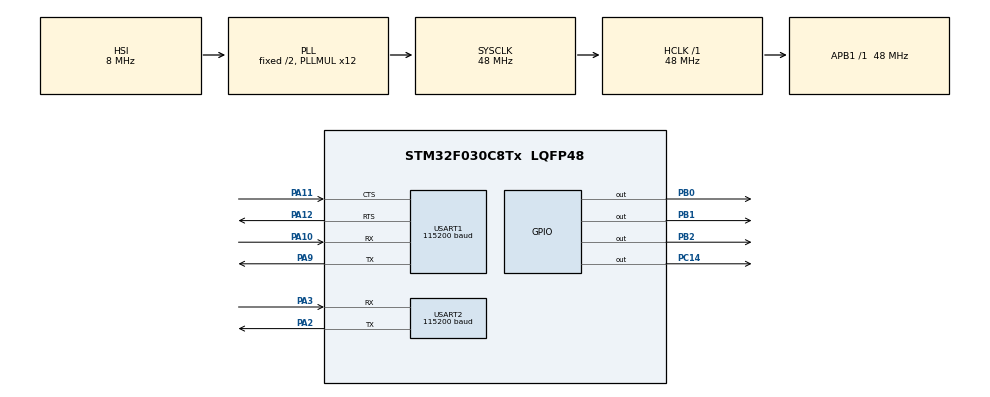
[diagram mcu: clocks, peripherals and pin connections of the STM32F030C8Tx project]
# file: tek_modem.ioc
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Dma.Request0=USART1_RX
Dma.Request1=USART1_TX
Dma.Request2=USART2_RX
Dma.Request3=USART2_TX
Dma.USART1_RX.0.Direction=DMA_PERIPH_TO_MEMORY
Dma.USART1_RX.0.Instance=DMA1_Channel3
Dma.USART1_RX.0.MemDataAlignment=DMA_MDATAALIGN_BYTE
Dma.USART1_RX.0.MemInc=DMA_MINC_ENABLE
Dma.USART1_RX.0.Mode=DMA_NORMAL
Dma.USART1_RX.0.PeriphDataAlignment=DMA_PDATAALIGN_BYTE
Dma.USART1_RX.0.PeriphInc=DMA_PINC_DISABLE
Dma.USART1_RX.0.Priority=DMA_PRIORITY_LOW
Dma.USART1_TX.1.Direction=DMA_MEMORY_TO_PERIPH
Dma.USART1_TX.1.Instance=DMA1_Channel2
Dma.USART1_TX.1.MemDataAlignment=DMA_MDATAALIGN_BYTE
Dma.USART1_TX.1.MemInc=DMA_MINC_ENABLE
Dma.USART1_TX.1.Mode=DMA_NORMAL
Dma.USART1_TX.1.PeriphDataAlignment=DMA_PDATAALIGN_BYTE
Dma.USART1_TX.1.PeriphInc=DMA_PINC_DISABLE
Dma.USART1_TX.1.Priority=DMA_PRIORITY_LOW
Dma.USART2_RX.2.Direction=DMA_PERIPH_TO_MEMORY
Dma.USART2_RX.2.Instance=DMA1_Channel5
Dma.USART2_RX.2.MemDataAlignment=DMA_MDATAALIGN_BYTE
Dma.USART2_RX.2.MemInc=DMA_MINC_ENABLE
Dma.USART2_RX.2.Mode=DMA_NORMAL
Dma.USART2_RX.2.PeriphDataAlignment=DMA_PDATAALIGN_BYTE
Dma.USART2_RX.2.PeriphInc=DMA_PINC_DISABLE
Dma.USART2_RX.2.Priority=DMA_PRIORITY_HIGH
Dma.USART2_TX.3.Direction=DMA_MEMORY_TO_PERIPH
Dma.USART2_TX.3.Instance=DMA1_Channel4
Dma.USART2_TX.3.MemDataAlignment=DMA_MDATAALIGN_BYTE
Dma.USART2_TX.3.MemInc=DMA_MINC_ENABLE
Dma.USART2_TX.3.Mode=DMA_NORMAL
Dma.USART2_TX.3.PeriphDataAlignment=DMA_PDATAALIGN_BYTE
Dma.USART2_TX.3.PeriphInc=DMA_PINC_DISABLE
Dma.USART2_TX.3.Priority=DMA_PRIORITY_LOW
Mcu.Family=STM32F0
Mcu.Name=STM32F030C8Tx
Mcu.Package=LQFP48
NVIC.DMA1_Channel2_3_IRQn=true\:0\:0\:false\:false\:true\:false\:true\:true
NVIC.DMA1_Channel4_5_IRQn=true\:0\:0\:false\:false\:true\:false\:true\:true
NVIC.USART1_IRQn=true\:0\:0\:false\:false\:true\:true\:true\:true
NVIC.USART2_IRQn=true\:0\:0\:false\:false\:true\:true\:true\:true
PA10.Mode=Asynchronous
PA10.Signal=USART1_RX
PA11.Mode=CTS_RTS
PA11.Signal=USART1_CTS
PA12.Mode=CTS_RTS
PA12.Signal=USART1_RTS
PA2.Mode=Asynchronous
PA2.Signal=USART2_TX
PA3.Mode=Asynchronous
PA3.Signal=USART2_RX
PA9.Mode=Asynchronous
PA9.Signal=USART1_TX
PB0.Signal=GPIO_Output
PB1.Signal=GPIO_Output
PB2.Signal=GPIO_Output
PC14-OSC32_IN.Signal=GPIO_Output
PF0-OSC_IN.Mode=HSE-External-Oscillator
PF0-OSC_IN.Signal=RCC_OSC_IN
PF1-OSC_OUT.Mode=HSE-External-Oscillator
PF1-OSC_OUT.Signal=RCC_OSC_OUT
ProjectManager.HeapSize=0x200
ProjectManager.StackSize=0x400
ProjectManager.TargetToolchain=STM32CubeIDE
RCC.AHBFreq_Value=48000000
RCC.APB1Freq_Value=48000000
RCC.APB1TimFreq_Value=48000000
RCC.HCLKFreq_Value=48000000
RCC.PLLMUL=RCC_PLL_MUL12
RCC.PWR_Regulator_Voltage_Scale=PWR_REGULATOR_VOLTAGE_SCALE1
RCC.SYSCLKFreq_VALUE=48000000
RCC.SYSCLKSource=RCC_SYSCLKSOURCE_PLLCLK
USART1.BaudRate=115200
USART1.VirtualMode-Asynchronous=VM_ASYNC
USART2.BaudRate=115200
USART2.VirtualMode-Asynchronous=VM_ASYNC
board=custom

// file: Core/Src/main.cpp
/* USER CODE BEGIN Header */
/**
 ******************************************************************************
 * @file           : main.c
 * @brief          : Main program body
 ******************************************************************************
 * @attention
 *
 * Copyright (c) 2023 STMicroelectronics.
 * All rights reserved.
 *
 * This software is licensed under terms that can be found in the LICENSE file
 * in the root directory of this software component.
 * If no LICENSE file comes with this software, it is provided AS-IS.
 *
 ******************************************************************************
 */
/* USER CODE END Header */
#include "main.h"

/* USER CODE BEGIN Includes */
#include "mqtt.h"
#include <stdarg.h>

/* USER CODE END Includes */

/* USER CODE BEGIN PTD */

uint8_t rx_data[400]; //="+init,tcp://test.mosquitto.org:1883,user";
int init_flag;
int i=0;
//message_mqtt_recive mqtt_message;
/* USER CODE END PTD */

/* USER CODE BEGIN PD */
void UARTPrint(const char *args, ...) //отладка идет в монетоприемник
{
	char StrBuff[1024];
	va_list ap;
	va_start(ap, args);
	char len = vsnprintf(StrBuff, sizeof(StrBuff), args, ap);
	va_end(ap);
	int timeout = sizeof(StrBuff) / 3;
	HAL_UART_Transmit(&huart2,(uint8_t*)StrBuff,len,timeout);
}
/* USER CODE END PD */

UART_HandleTypeDef huart1;
UART_HandleTypeDef huart2;
DMA_HandleTypeDef hdma_usart1_rx;
DMA_HandleTypeDef hdma_usart1_tx;
DMA_HandleTypeDef hdma_usart2_rx;
DMA_HandleTypeDef hdma_usart2_tx;

/* USER CODE BEGIN PV */
bool modem_flag=false;
/* USER CODE END PV */

void SystemClock_Config(void);
static void MX_GPIO_Init(void);
static void MX_DMA_Init(void);
static void MX_USART1_UART_Init(void);
static void MX_USART2_UART_Init(void);

/* USER CODE BEGIN 0 */
void HAL_UART_TxHalfCpltCallback(UART_HandleTypeDef *huart)
{
	// передана половина данных
}

void HAL_UART_TxCpltCallback(UART_HandleTypeDef *huart)
{
	// завершена передача всех данных
}
int error_count=0;
uint32_t timer;
void modem_work()
{
	char buffer[500];
	bool ok_flag=false;
	string log_buffer;
	for(int i=0;i<10;i++)
	{

		uint32_t sim_start_Delay = 0;
		//	HAL_UART_Transmit(&huart1, (uint8_t*)"ATE1\r\n",6,100);
		//	HAL_Delay(100);
		//	HAL_UARTEx_ReceiveToIdle_DMA(&huart1, (uint8_t*) buffer, 100);
		HAL_UART_Transmit(&huart1, (uint8_t*)"AT\r\n", 4,100);
		HAL_Delay(300);
		//	timer=HAL_GetTick();
		//log_buffer<<"LOG: STM32F0: "<<"AT\r\n";
		//	log_buffer.append("LOG: STM32F0: ").append("AT\r\n");
		//		HAL_UART_Transmit(&huart2, (uint8_t*)log_buffer.c_str(), log_buffer.size(), log_buffer.size()*3);
		//		HAL_Delay(300);
		//	log_buffer.clear();
		HAL_UART_Receive_DMA(&huart1, (uint8_t*) buffer, 100);
		HAL_Delay(1000);
		//		HAL_UART_Receive(&huart1, (uint8_t*)buffer, 500, 1000);
		//		timer=HAL_GetTick();
		//		log_buffer.append("LOG: MODEM: ").append(buffer);
		//		HAL_UART_Transmit(&huart2, (uint8_t*)log_buffer.c_str(), log_buffer.size(), log_buffer.size()*3);
		//		log_buffer.clear();
		for(int i=0;i<499;i++)
		{
			if(buffer[i]=='O'&&buffer[i+1]=='K')
			{
				ok_flag=true;
				break;
			}
		}
		if(strstr(buffer,"SIM not inserted"))
		{
			//UARTPrint("MODEM ERROR\r\n");
			//glcd_int_puts(modem_error, 0, 0);
			//auth_flag=0;
			init_flag=0;
			sub=false;
			memset(buffer,9,500);
			HAL_GPIO_WritePin(GPIOC, GPIO_PIN_14, GPIO_PIN_SET);
			HAL_Delay(500);
			HAL_GPIO_WritePin(GPIOC, GPIO_PIN_14, GPIO_PIN_RESET);
			modem_flag = 0;
		}
		else if(ok_flag)
		{
			//UARTPrint("MODEM READY\r\n");
			//	glcd_int_puts(modem_ok, 0, 0);
			//		HAL_UART_Transmit(&huart1, (uint8_t*)"AT&F\r\n", 8,100);
			//		HAL_Delay(500);
			//		HAL_UARTEx_ReceiveToIdle_DMA(&huart1, (uint8_t*) buffer, 100);
			memset(buffer,9,500);
			error_count=0;
			HAL_UART_Transmit_DMA(&huart2, (uint8_t*)"OK\n\r", 4);
			modem_flag=true;
			break;
		}
		else
		{
			//UARTPrint("MODEM ERROR\r\n");
			//glcd_int_puts(modem_error, 0, 0);
			//auth_flag=0;

			error_count++;
			HAL_Delay(1000);
			if(error_count>5)
			{
				sub=false;
				memset(buffer,9,500);
				init_flag=0;
				error_count=0;
				modem_flag = 0;
				HAL_GPIO_WritePin(GPIOC, GPIO_PIN_14, GPIO_PIN_SET);
				HAL_Delay(500);
				HAL_GPIO_WritePin(GPIOC, GPIO_PIN_14, GPIO_PIN_RESET);
			}

		}
	}

}

void CSQ_status()
{
	char buffer[512];
	char ch[30];

	for(int i=0;i<10;i++)
	{
		memset(buffer, 9, sizeof(buffer));
		HAL_UART_Transmit(&huart1,(uint8_t*)"AT+CSQ\r\n" , 10,100);
		HAL_Delay(100);
		HAL_UART_Receive(&huart1, (uint8_t*)buffer, 512,1000);
		HAL_Delay(100);
	}

}
void modem_status()
{
	char buffer[512];
	char ch[30];
	HAL_UART_Transmit_DMA(&huart1,(uint8_t*)"AT&F\r\n" , 10);
	HAL_Delay(50);
	HAL_UART_Receive_DMA(&huart1, (uint8_t*)buffer, 512);
	for(int i =0;i<30;i++)
	{
		if(buffer[i]=='C'&&buffer[i+1]=='S'&&buffer[i+2]=='Q'&&buffer[i+3]==':')
		{
			int j=0;
			for(int ii=i+4;j<6;ii++)
			{
				ch[j]=buffer[ii];
				j++;
			}
			ch[j]=0;
			//ch[j]=0;
			break;
		}
	}
}
//uint32_t message_count=0;
int sub_len;
int pub_len;
int con_len;
char recive_packet_init[256];
char recive_packet_send[256];
char recive_packet_sub[256];
uint32_t OK_Delay=0;
void modem_wait()
{
	int test=0;
	char ch[20];
	//	HAL_UARTEx_ReceiveToIdle_DMA(&huart2, rx_data, 200);
	bool corect_rec=false;
	for(i=0;i<20;i++)
	{
		if(init_flag==1)
		{
			HAL_UART_Transmit_DMA(&huart2, (uint8_t*)"INIT\n\r", 6);
		}
		else
		{
			if(HAL_GetTick()-OK_Delay>100)
			{
			OK_Delay=HAL_GetTick();
			sprintf(ch,"OK\n\r");
			HAL_UART_Transmit_DMA(&huart2, (uint8_t*)ch, 4);
			}
		}
		HAL_Delay(50);
		HAL_UART_Receive_DMA(&huart2, rx_data, 400);
		for(int r=0;r<350;r++)
		{
			if(rx_data[r]=='s'&&rx_data[r+1]=='u'&&rx_data[r+2]=='b'&&rx_data[r+3]==':')
			{
				for(int ii=5+r;ii<400;ii++)
				{
					if(rx_data[ii]=='\n')
					{
						sub_len=ii-5-r;
						break;
					}
					else
					{
						recive_packet_sub[ii-5-r]=rx_data[ii];
					}
				}
			}
			if(rx_data[r]=='i'&&rx_data[r+1]=='n'&&rx_data[r+2]=='i'&&rx_data[r+3]==':')
			{
				for(int ii=5+r;ii<400;ii++)
				{
					if(rx_data[ii]=='\n')
					{
						con_len=ii-r-5;

						break;
					}
					else
					{
						recive_packet_init[ii-r-5]=rx_data[ii];
					}
				}
			}
			if(rx_data[r]=='p'&&rx_data[r+1]=='u'&&rx_data[r+2]=='b'&&rx_data[r+3]==':')
			{
				for(int ii=5+r;ii<400;ii++)
				{
					if(rx_data[ii]=='\n')
					{
						pub_len=ii-r-5;
						break;
					}
					else
					{
						recive_packet_send[ii-r-5]=rx_data[ii];
					}

				}
			}
		}
		//		if(strstr((char*)rx_data,"sub:"))
		//		{
		//			//modem_sub();
		//			memcpy(rx_data,strstr((char*)rx_data,"sub:"),400);
		//			for(int ii=5;ii<400;ii++)
		//			{
		//				if(rx_data[ii]=='\n')
		//				{
		//					sub_len=ii-5;
		//					break;
		//				}
		//				else
		//				{
		//					recive_packet_sub[ii-5]=rx_data[ii];
		//				}
		//			}
		//			//	memset(rx_data, 9, 400);
		//		}
		//		else if(strstr((char*)rx_data,"ini:")&&init_flag!=1)
		//		{
		//			//rx_data=(uint8_t*)strstr((char*)rx_data,"init,");
		//			memcpy(rx_data,strstr((char*)rx_data,"ini:"),400);
		//			for(int ii=5;ii<400;ii++)
		//			{
		//				if(rx_data[ii]=='\n')
		//				{
		//					con_len=ii-5;
		//
		//					break;
		//				}
		//				else
		//				{
		//					recive_packet_init[ii-5]=rx_data[ii];
		//				}
		//			}
		//			//modem_init();
		//			//memset(rx_data, 9, sizeof(rx_data));
		//
		//		}
		//		else if(strstr((char*)rx_data,"pub:"))
		//		{
		//			//modem_send();
		//			//test++;
		//			memcpy(rx_data,strstr((char*)rx_data,"pub:"),400);
		//			for(int ii=5;ii<400;ii++)
		//			{
		//				if(rx_data[ii]=='\n')
		//				{
		//					pub_len=ii-5;
		//					break;
		//				}
		//				else
		//				{
		//					recive_packet_send[ii-5]=rx_data[ii];
		//				}
		//
		//			}
		//			//memset(rx_data, 9, 400);
		//		}

		break;
	}
	if(pub_len>100)
	{
		pub_len=0;
	}
	if(sub_len>100)
	{
		sub_len=0;
	}
	if(con_len>70)
	{
		con_len=0;
	}

	memset(rx_data, 9, 400);
	//	if(HAL_GetTick()%10000==0)
	//	{
	//		mqtt_message=Mqtt_Recive();
	//	}
}
//string serv;
//string user;
//string pass;
void log_uart(char* data)
{
//	HAL_UART_Transmit(&huart2, (uint8_t*)"LOG:", 4,50);
//	HAL_UART_Transmit(&huart2, (uint8_t*)data, 50,200);
//	HAL_UART_Transmit(&huart2, (uint8_t*)"\n\r", 2,50);
}
bool init_ready=false;
bool pub_ready=false;
//string topic;
//string mess;
//void modem_init()
//{
//
//	int j=0;
//	while(true)
//	{
//		if(rx_data[i+j+5]!=','&&j<100&&rx_data[i+j+5]!='\t'&&rx_data[i+j+5]!='\n'&&rx_data[i+j+5]!='\r')
//		{
//			topic.push_back(rx_data[i+j+5]);
//		}
//		else
//		{
//			break;
//		}
//		j++;
//	}
//	while(true)
//	{
//		if(rx_data[i+j+6]!=','&&j<200&&rx_data[i+j+6]!='\t'&&rx_data[i+j+6]!='\n'&&rx_data[i+j+6]!='\r')
//		{
//			mess.push_back(rx_data[i+j+6]);
//		}
//		else
//		{
//			break;
//		}
//		j++;
//	}

//	pub_ready=true;
//	init_ready=true;
//	//Mqtt_Init("kz-kudu.irz.ru", "bob","GG168jcbD",topic,mess);
//	//return 0;
//}
//void modem_send()
//{
//	string topic;
//	int j=0;
//
//
//	while(true)
//	{
//		if(rx_data[i+j+6]!='\n')
//		{
//			topic.push_back(rx_data[i+j+6]);
//		}
//		else
//		{
//			break;
//		}
//		j++;
//	}
//
//
//
//	//Mqtt_Subscribe((char*)topic.c_str());
//}
//void modem_sub()
//{
//	string topic;
//	int j=0;
//
//
//	while(true)
//	{
//		if(rx_data[i+j+6]!='\n')
//		{
//			topic.push_back(rx_data[i+j+6]);
//		}
//		else
//		{
//			break;
//		}
//		j++;
//	}
//
//
//
//	//Mqtt_Subscribe((char*)topic.c_str());
//}
/* USER CODE END 0 */

int main(void)
{

  /* MCU Configuration--------------------------------------------------------*/

  /* Reset of all peripherals, Initializes the Flash interface and the Systick. */
  HAL_Init();

  /* Configure the system clock */
  SystemClock_Config();

  /* Initialize all configured peripherals */
  MX_GPIO_Init();
  MX_DMA_Init();
  MX_USART1_UART_Init();
  MX_USART2_UART_Init();

  /* Infinite loop */
  /* USER CODE BEGIN WHILE */
	//char data[512];
	uint32_t last=0;
	uint32_t last_pub=0;
	//int count12=0;
	//	HAL_GPIO_WritePin(GPIOC, GPIO_PIN_14, GPIO_PIN_SET);
	//	HAL_Delay(500);
	//	HAL_GPIO_WritePin(GPIOC, GPIO_PIN_14, GPIO_PIN_RESET);
	//	HAL_GPIO_TogglePin(GPIOB, GPIO_PIN_1);
	HAL_Delay(7000);
	//	while(1)
	//	{
	//		modem_work();
	//	}

	uint32_t ResDelay=0;
	uint32_t subDelay=0;
	while (1)
	{

		//		if(HAL_GetTick()-last>=5000)
		if(!modem_flag&&HAL_GetTick()-last>=5000)
		{
			modem_work();
			last=HAL_GetTick();
		}

    /* USER CODE END WHILE */

    /* USER CODE BEGIN 3 */

		HAL_GPIO_TogglePin(GPIOB, GPIO_PIN_1);

		if(modem_flag)
		{
			//	CSQ_status();
			//	Mqtt_Init("kz-kudu.irz.ru", "bob","GG168jcbD","1001999","test");
			if(init_flag==0)
			{

				//Mqtt_Init("kz-kudu.irz.ru", "bob","GG168jcbD","1001999","test");

				if(con_len>0&&pub_len>0)
				{
					//CSQ_status();

					Mqtt_Init();
					//						topic.clear();
					//						mess.clear();
					//						//Mqtt_Init1("kz-kudu.irz.ru", "bob","GG168jcbD", "999999/Modem/MB_ConnStat", "OK");
				}

				if(pub)
				{
					for(int i=0;i<5;i++)
					{
						Mqtt_Recive();
						if(!pub)
						{
							break;
						}
					}
				}

			}

			HAL_GPIO_TogglePin(GPIOB, GPIO_PIN_2);

		}
		modem_wait();

	}
  /* USER CODE END 3 */
}

void SystemClock_Config(void)
{
  RCC_OscInitTypeDef RCC_OscInitStruct = {0};
  RCC_ClkInitTypeDef RCC_ClkInitStruct = {0};
  RCC_PeriphCLKInitTypeDef PeriphClkInit = {0};

  /** Initializes the RCC Oscillators according to the specified parameters
  * in the RCC_OscInitTypeDef structure.
  */
  RCC_OscInitStruct.OscillatorType = RCC_OSCILLATORTYPE_HSI;
  RCC_OscInitStruct.HSIState = RCC_HSI_ON;
  RCC_OscInitStruct.HSICalibrationValue = RCC_HSICALIBRATION_DEFAULT;
  RCC_OscInitStruct.PLL.PLLState = RCC_PLL_ON;
  RCC_OscInitStruct.PLL.PLLSource = RCC_PLLSOURCE_HSI;
  RCC_OscInitStruct.PLL.PLLMUL = RCC_PLL_MUL12;
  RCC_OscInitStruct.PLL.PREDIV = RCC_PREDIV_DIV1;
  if (HAL_RCC_OscConfig(&RCC_OscInitStruct) != HAL_OK)
  {
    Error_Handler();
  }

  /** Initializes the CPU, AHB and APB buses clocks
  */
  RCC_ClkInitStruct.ClockType = RCC_CLOCKTYPE_HCLK|RCC_CLOCKTYPE_SYSCLK
                              |RCC_CLOCKTYPE_PCLK1;
  RCC_ClkInitStruct.SYSCLKSource = RCC_SYSCLKSOURCE_PLLCLK;
  RCC_ClkInitStruct.AHBCLKDivider = RCC_SYSCLK_DIV1;
  RCC_ClkInitStruct.APB1CLKDivider = RCC_HCLK_DIV1;

  if (HAL_RCC_ClockConfig(&RCC_ClkInitStruct, FLASH_LATENCY_1) != HAL_OK)
  {
    Error_Handler();
  }
  PeriphClkInit.PeriphClockSelection = RCC_PERIPHCLK_USART1;
  PeriphClkInit.Usart1ClockSelection = RCC_USART1CLKSOURCE_PCLK1;
  if (HAL_RCCEx_PeriphCLKConfig(&PeriphClkInit) != HAL_OK)
  {
    Error_Handler();
  }
}

static void MX_USART1_UART_Init(void)
{

  huart1.Instance = USART1;
  huart1.Init.BaudRate = 115200;
  huart1.Init.WordLength = UART_WORDLENGTH_8B;
  huart1.Init.StopBits = UART_STOPBITS_1;
  huart1.Init.Parity = UART_PARITY_NONE;
  huart1.Init.Mode = UART_MODE_TX_RX;
  huart1.Init.HwFlowCtl = UART_HWCONTROL_RTS_CTS;
  huart1.Init.OverSampling = UART_OVERSAMPLING_16;
  huart1.Init.OneBitSampling = UART_ONE_BIT_SAMPLE_DISABLE;
  huart1.AdvancedInit.AdvFeatureInit = UART_ADVFEATURE_NO_INIT;
  if (HAL_UART_Init(&huart1) != HAL_OK)
  {
    Error_Handler();
  }

}

static void MX_USART2_UART_Init(void)
{

  huart2.Instance = USART2;
  huart2.Init.BaudRate = 115200;
  huart2.Init.WordLength = UART_WORDLENGTH_8B;
  huart2.Init.StopBits = UART_STOPBITS_1;
  huart2.Init.Parity = UART_PARITY_NONE;
  huart2.Init.Mode = UART_MODE_TX_RX;
  huart2.Init.HwFlowCtl = UART_HWCONTROL_NONE;
  huart2.Init.OverSampling = UART_OVERSAMPLING_16;
  huart2.Init.OneBitSampling = UART_ONE_BIT_SAMPLE_DISABLE;
  huart2.AdvancedInit.AdvFeatureInit = UART_ADVFEATURE_NO_INIT;
  if (HAL_UART_Init(&huart2) != HAL_OK)
  {
    Error_Handler();
  }

}

static void MX_DMA_Init(void)
{

  /* DMA controller clock enable */
  __HAL_RCC_DMA1_CLK_ENABLE();

  /* DMA interrupt init */
  /* DMA1_Channel2_3_IRQn interrupt configuration */
  HAL_NVIC_SetPriority(DMA1_Channel2_3_IRQn, 0, 0);
  HAL_NVIC_EnableIRQ(DMA1_Channel2_3_IRQn);
  /* DMA1_Channel4_5_IRQn interrupt configuration */
  HAL_NVIC_SetPriority(DMA1_Channel4_5_IRQn, 0, 0);
  HAL_NVIC_EnableIRQ(DMA1_Channel4_5_IRQn);

}

static void MX_GPIO_Init(void)
{
  GPIO_InitTypeDef GPIO_InitStruct = {0};

  /* GPIO Ports Clock Enable */
  __HAL_RCC_GPIOC_CLK_ENABLE();
  __HAL_RCC_GPIOF_CLK_ENABLE();
  __HAL_RCC_GPIOA_CLK_ENABLE();
  __HAL_RCC_GPIOB_CLK_ENABLE();

  /*Configure GPIO pin Output Level */
  HAL_GPIO_WritePin(GPIOC, GPIO_PIN_14, GPIO_PIN_RESET);

  /*Configure GPIO pin Output Level */
  HAL_GPIO_WritePin(GPIOB, GPIO_PIN_0|GPIO_PIN_1|GPIO_PIN_2, GPIO_PIN_RESET);

  /*Configure GPIO pin : PC14 */
  GPIO_InitStruct.Pin = GPIO_PIN_14;
  GPIO_InitStruct.Mode = GPIO_MODE_OUTPUT_PP;
  GPIO_InitStruct.Pull = GPIO_NOPULL;
  GPIO_InitStruct.Speed = GPIO_SPEED_FREQ_LOW;
  HAL_GPIO_Init(GPIOC, &GPIO_InitStruct);

  /*Configure GPIO pins : PB0 PB1 PB2 */
  GPIO_InitStruct.Pin = GPIO_PIN_0|GPIO_PIN_1|GPIO_PIN_2;
  GPIO_InitStruct.Mode = GPIO_MODE_OUTPUT_PP;
  GPIO_InitStruct.Pull = GPIO_NOPULL;
  GPIO_InitStruct.Speed = GPIO_SPEED_FREQ_LOW;
  HAL_GPIO_Init(GPIOB, &GPIO_InitStruct);

}

void Error_Handler(void)
{
	__disable_irq();
	while (1)
	{
	}
}
